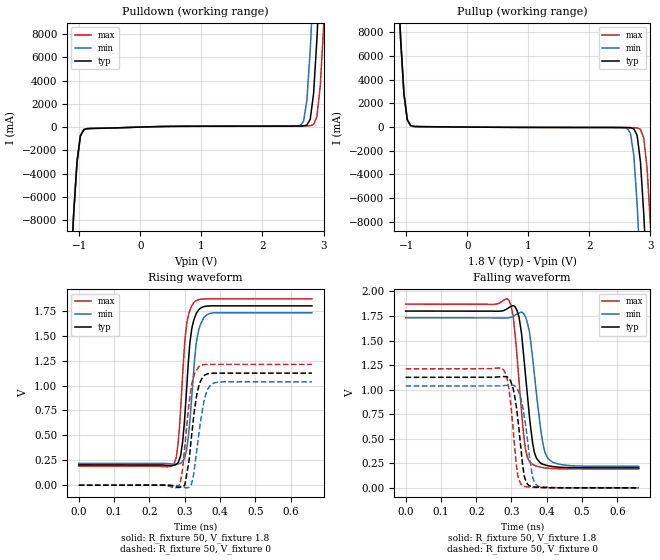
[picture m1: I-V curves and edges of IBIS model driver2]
| IBIS file invchain_skewp_tr50ps.ibs created by PYS2IBIS3
| Missouri S&T EMC Lab
[IBIS Ver] 7.1
[File Name] invchain_skewp_tr50ps.ibs
[File Rev] 1.0
[Date] Jul 27, 2026
[Source] inv_chain variant 'skewp' -- weak PMOS, Wp = Wn
[Notes] Parameter selection; sim_time=6.606e-10, tr=tf=5.000e-11.
[Component] invchain
[Manufacturer] s2ibispy study
[Package]
| variable   typ   min   max
R_pkg 0 NA NA
L_pkg 0H NA NA
C_pkg 0F NA NA
[Pin]  signal_name   model_name   R_pin   L_pin   C_pin
VSSQ   VSSQ   Gnd
VCCQ   VCCQ   Power
| IN IN dummy
PAD   PAD   driver2
| End of Component
| Models and submodels in the file (1): driver2 (Output)
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[Model] driver2
Model_type Output
Polarity Non-Inverting
Enable Active-High
Vinl  = 0.8V
Vinh  = 2V
C_comp 0.4680pF NA NA
[Temperature Range] 27.0000 27.0000 27.0000
[Voltage Range] 1.8000V 1.7000V 1.9000V
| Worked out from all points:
|   slope of the pulldown table from 0 to 0.27 V, typ, clamps not added: 6.79 ohm
|   slope of the pullup table from 0 to 0.27 V, typ, clamps not added: 24.6 ohm
|   rising waveform, R_fixture 50, V_fixture 1.8: 20-80 % time 20.2ps typ, 21.4ps min, 18.9ps max; typ from 0.204 V to 1.8 V
|   rising waveform, R_fixture 50, V_fixture 0: 20-80 % time 22.6ps typ, 24.4ps min, 21.6ps max; typ from 0 V to 1.12 V
|   falling waveform, R_fixture 50, V_fixture 1.8: 20-80 % time 26ps typ, 29.4ps min, 23.8ps max; typ from 1.8 V to 0.204 V
|   falling waveform, R_fixture 50, V_fixture 0: 20-80 % time 21.3ps typ, 24ps min, 19.3ps max; typ from 1.12 V to 0 V
[Pulldown]
| Voltage   I(typ)   I(min)   I(max)
-1.8V     -87.88A    -87.88A    -87.88A
-1.145V   -13.18A    -13.18A    -13.18A
-1.091V   -7.364A    -7.362A    -7.366A
-981.8mV  -760.7mA   -755.8mA   -765.3mA
-927.3mV  -221.8mA   -216.4mA   -227mA
2.618V    89.37mA    140mA      93.72mA
2.727V    172.9mA    2.318A     99.43mA
2.836V    2.874A     12.68A     215.6mA
2.891V    7.545A     19.33A     885.6mA
2.946V    13.8A      25.98A     3.505A
3V        20.45A     32.63A     8.516A
3.6V      93.6A      105.8A     81.42A
[Pullup]
| Voltage   I(typ)   I(min)   I(max)
-1.8V     93.5A      93.5A      93.5A
-1.145V   13.72A     13.72A     13.72A
-1.091V   7.473A     7.472A     7.473A
-1.036V   2.812A     2.811A     2.812A
-981.8mV  621.2mA    620.4mA    621.9mA
-927.3mV  124.8mA    123.9mA    125.6mA
2.618V    -45.42mA   -113mA     -43.22mA
2.727V    -144.2mA   -2.378A    -50.27mA
2.836V    -2.918A    -12.15A    -185.8mA
2.891V    -7.358A    -18.37A    -914mA
3V        -19.41A    -30.82A    -8.26A
3.6V      -87.89A    -99.3A     -76.48A
[Ramp]
| variable   typ   min   max
dV/dt_r 0.6750/0.02271n 0.6222/0.02366n 0.7272/0.02153n
dV/dt_f 0.9575/0.02608n 0.8972/0.02852n 1.0171/0.02417n
R_load = 50
[Rising Waveform]
R_fixture = 50
V_fixture = 1.8
|time   V(typ)   V(min)   V(max)
0s        204.2mV    219.5mV    192.2mV
269.8ps   200.2mV    211.7mV    213.3mV
280.4ps   223.4mV    213mV      378.4mV
289ps     301.9mV    221.2mV    781.7mV
303.5ps   849.6mV    316.6mV    1.55V
315.4ps   1.443V     663.9mV    1.759V
330.6ps   1.701V     1.351V     1.847V
345.2ps   1.778V     1.617V     1.866V
371.6ps   1.799V     1.724V     1.87V
660.6ps   1.8V       1.731V     1.87V
[Rising Waveform]
R_fixture = 50
V_fixture = 0
|time   V(typ)   V(min)   V(max)
0s        9.143nV    8.943nV    9.398nV
280.4ps   -21.49mV   -5.688mV   -19.12mV
287.7ps   -19.61mV   -11.42mV   24.08mV
300.9ps   6.476mV    -23.9mV    403.1mV
318.7ps   463.2mV    3.973mV    985.3mV
331.3ps   844.5mV    258.3mV    1.14V
342.5ps   1.024V     574.8mV    1.2V
358.4ps   1.107V     895.9mV    1.212V
380.2ps   1.125V     1.022V     1.212V
660.6ps   1.125V     1.037V     1.212V
[Falling Waveform]
R_fixture = 50
V_fixture = 1.8
|time   V(typ)   V(min)   V(max)
0s        1.8V       1.731V     1.87V
290.3ps   1.83V      1.731V     1.917V
304.9ps   1.856V     1.746V     1.747V
321.4ps   1.738V     1.781V     1.081V
330.6ps   1.495V     1.787V     680.2mV
344.5ps   954.1mV    1.686V     315.6mV
364.4ps   365mV      1.172V     230.5mV
384.9ps   246mV      538.8mV    208.5mV
404ps     224.4mV    298.5mV    199.4mV
660.6ps   204.2mV    219.5mV    192.2mV
[Falling Waveform]
R_fixture = 50
V_fixture = 0
|time   V(typ)   V(min)   V(max)
0s        1.125V     1.037V     1.212V
274.4ps   1.133V     1.04V      1.213V
291ps     1.12V      1.046V     1.044V
304.9ps   1.008V     1.045V     591mV
316.8ps   740.2mV    1.005V     146.2mV
330.6ps   262.5mV    847.4mV    24.23mV
339.2ps   82.77mV    660.6mV    12.52mV
359.1ps   11.64mV    121.6mV    5.59mV
374.9ps   6.25mV     18.6mV     2.95mV
660.6ps   -724.2nV   -2.128uV   -202.1nV
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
